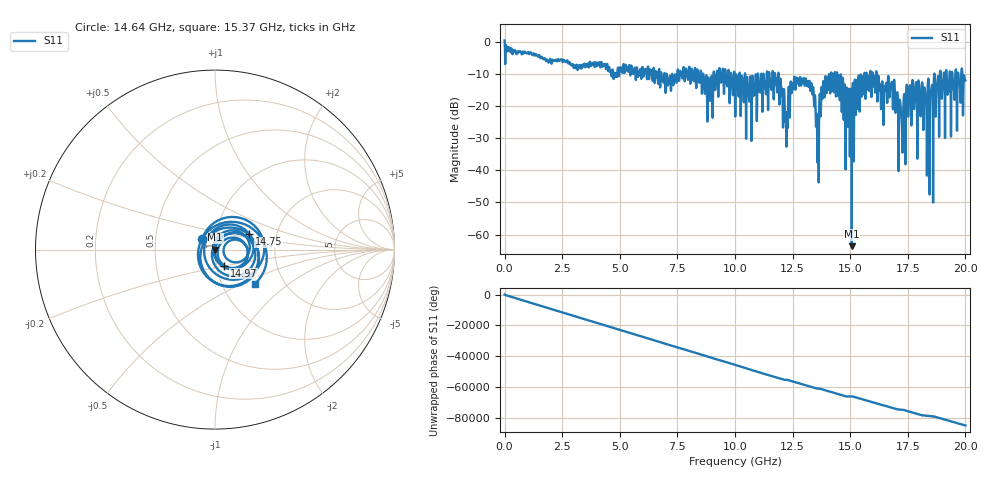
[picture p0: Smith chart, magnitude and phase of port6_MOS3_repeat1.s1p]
! MS46122B
! 2250307/22442219
! 7/24/2025 12:48:27 PM
! C:\USERS\SPARKY\DOCUMENTS\VNA_DATA\JULY24_2025\295K\PORT6_MOS3_REPEAT1.S1P
! CHANNEL.1
! TR.MEASUREMENT
! RAW.DATA
# GHZ S RI R 50.0
! FREQ.GHZ  S11RE  S11IM
!; PortSelection: Port_1
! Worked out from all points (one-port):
!   10001 points, 1 MHz to 20 GHz, reference 50 ohm
!   lowest |S11| = -63.6 dB at 15.07 GHz (marker M1), VSWR 1.00, Z = 50.1 + j0.00905 ohm
!   |S11| at or under -10 dB: 11.89 GHz to 14.16 GHz (2.271 GHz wide, 17.4 % of centre); 14.44 GHz to 15.61 GHz (1.176 GHz wide, 7.83 % of centre); 16.15 GHz to 18.65 GHz (2.5 GHz wide, 14.4 % of centre) (the widest 3 of 68)
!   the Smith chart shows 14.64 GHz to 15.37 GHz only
!   S11 on the Smith chart (normalised r, x): 14.64 GHz: 0.86, +0.11; 14.75 GHz: 1.44, +0.26; 14.97 GHz: 1.09, -0.20; 15.37 GHz: 1.43, -0.59
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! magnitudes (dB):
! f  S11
! 1 MHz  0.4
! 2.501 GHz  -5.8
! 5.001 GHz  -8.2
! 7.501 GHz  -9.4
! 8.443 GHz  -12.6
! 8.869 GHz  -12.4
! 9.399 GHz  -12.7
! 10 GHz  -17.1
! 11.81 GHz  -11.5
! 12.22 GHz  -27.9
! 12.5 GHz  -12.9
! 13.31 GHz  -12.9
! 13.57 GHz  -31.1
! 13.76 GHz  -14.1
! 14 GHz  -11.0
! 14.64 GHz  -20.5
! 14.75 GHz  -13.6
! 14.97 GHz  -19.7
! 15 GHz  -20.8
! 15.07 GHz  -63.6
! 15.37 GHz  -10.7
! 16.73 GHz  -14.4
! 17.19 GHz  -20.7
! 17.5 GHz  -19.9
! 17.78 GHz  -19.3
! 18.37 GHz  -13.2
! 18.99 GHz  -15.5
! 20 GHz  -12.0
